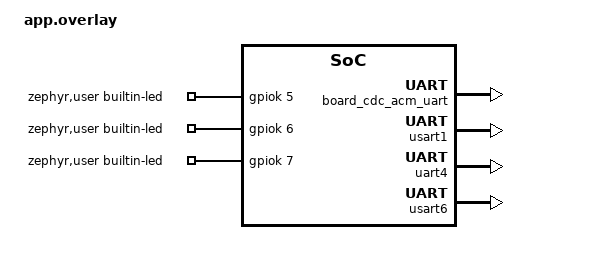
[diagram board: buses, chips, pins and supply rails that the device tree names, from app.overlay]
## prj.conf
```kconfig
#CONFIG_STDOUT_CONSOLE=y

CONFIG_DMA=y
```

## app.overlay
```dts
/* This is copy of the Arduino setup */
&board_cdc_acm_uart {
	status = "okay";
};

&usart1 {
	status = "okay";
};

&uart4 {
	status = "okay";
};

&usart6 {
	status = "okay";
};


&dmamux1 {
	status = "okay";
};

&dma1 {
	status = "okay";
};



/ {
	chosen {
		zephyr,console = &usart6;
		zephyr,shell-uart = &usart6;
		zephyr,cdc-acm-uart0 = &usart6;
	};

};


/ {
	zephyr,user {
		builtin-led-gpios = <&gpiok 5 0>,
				    <&gpiok 6 0>,
				    <&gpiok 7 0>;

	};
};
```

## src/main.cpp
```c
#include <stdio.h>
#include <string.h>
#include <zephyr/device.h>
#include <zephyr/drivers/uart.h>
#include <zephyr/kernel.h>
#include <zephyr/drivers/clock_control.h>

#include <zephyr/logging/log.h>

LOG_MODULE_REGISTER(main, LOG_LEVEL_INF);
#include <zephyr/devicetree.h>
#include <zephyr/drivers/dma.h>

#ifdef CONFIG_BOARD_TEENSYMM 
#define DMA_NODE DT_NODELABEL(edma0)
#else
#define DMA_NODE DT_NODELABEL(dma1)
#endif

#define BUFFER_SIZE 128

__aligned(32) uint8_t tx_buffer[BUFFER_SIZE];
__aligned(32) uint8_t rx_buffer[BUFFER_SIZE];
volatile bool dma_completed;

void dma_callback(const struct device *dma_dev, void *user_data, uint32_t channel, int status) {
	printk("DCB(%p, %u, %d)\n", dma_dev, user_data, channel, status);

	dma_completed = true;
}


int configure_dma_transfer(const struct device *dma_dev, uint8_t *src, uint8_t *dest, size_t size, int channel) {
  dma_completed = false;

  SCB_CleanDCache_by_Addr((uint32_t *)src, size);
  SCB_InvalidateDCache_by_Addr((uint32_t *)dest, size);

  struct dma_block_config block_cfg = {
    .source_address = (uint32_t)(src),
    .dest_address = (uint32_t)(dest),
    .block_size = size,
  };


  struct dma_config dma_cfg = {
    .dma_slot = 0,
    .channel_direction = MEMORY_TO_MEMORY,
    .complete_callback_en = true,
    .source_data_size = 1,
    .dest_data_size = 1,
    .source_burst_length = 1,
    .dest_burst_length = 1,
    .block_count = 1,
    .head_block = &block_cfg,
    .user_data = nullptr,
    .dma_callback = dma_callback,
  };

  int ret = dma_config(dma_dev, channel, &dma_cfg);
  if (ret) {
    LOG_ERR("DMA config failed: %d", ret);
    return ret;
  }

  printk("DMAStart(%p, %u)\n", dma_dev, channel);
  ret = dma_start(dma_dev, channel);
  if (ret) {
    LOG_ERR("DMA start failed: %d", ret);
    return ret;
  }

  return 0;
}


void CheckBuffers(uint8_t *source, uint8_t *dest) {
  int error_count = 0;

  for (int i = 0; i < BUFFER_SIZE; i++) {
    if (source[i] != dest[i]) {
      error_count++;
      if (error_count < 5) printk(" (%i %x %x)", i, source[i], dest[i]);
    }
  }
  if (error_count) {
    printk(" %u\n", error_count);
  } else {
    printk("No errors\n");
  }
}


int main(void)
{

	const struct device *dma_dev = DEVICE_DT_GET(DMA_NODE);
	//struct dma_status dma_status = {0};
	k_sleep(K_MSEC(250));
	printk("SDRAM test...\n");

  int ret = 0;
  int tx_dma_channel = 0;

  for (uint8_t channel = 1; channel <= 7; channel++) {
    dma_status dmastat;
    memset(&dmastat, 0, sizeof(dmastat));
    ret = dma_get_status(dma_dev, channel, &dmastat);
    printk("ch:%u stat:%d - %u %u %u %u %u %u %u\n", channel, ret,
           dmastat.busy, dmastat.dir, dmastat.pending_length,
           dmastat.free, dmastat.write_position, dmastat.read_position, (uint32_t)dmastat.total_copied);
    if ((tx_dma_channel == 0) && (ret == 0) && (!dmastat.busy)) tx_dma_channel = channel;
  }


	//tx_dma_channel = dma_request_channel(dma_dev, 0);
	printk("DMA Channel allocated %d\n", tx_dma_channel);

  memset(tx_buffer, 0x42, BUFFER_SIZE);
  memset(rx_buffer, 0xff, BUFFER_SIZE);
  ret = configure_dma_transfer(dma_dev, tx_buffer, rx_buffer, BUFFER_SIZE, tx_dma_channel);
  if (ret != 0) {
    LOG_ERR("DMA configuration or transfer failed\n");
  }
  int wait_count = 0;
  while (!dma_completed && wait_count++ < 1000) {
    k_sleep(K_USEC(100));
  }
  if (!dma_completed) {
    LOG_ERR("DMA transfer timeout");
  }
  printk("Check Buffers: ");
  CheckBuffers(tx_buffer, rx_buffer);
  return 0;
}
```
